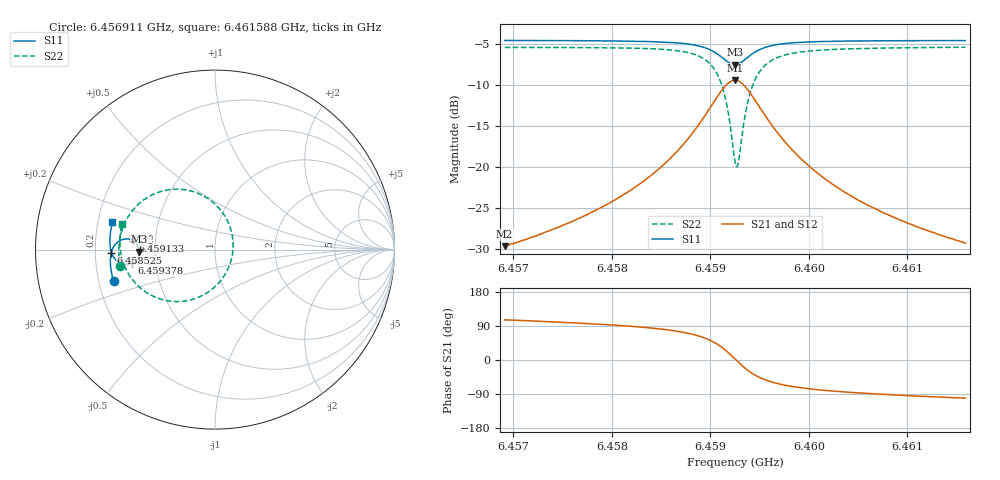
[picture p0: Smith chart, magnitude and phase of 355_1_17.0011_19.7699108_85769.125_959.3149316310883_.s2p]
#  HZ  S  RI  R  50.00
! Rohde & Schwarz Vector Network Analyzer
! Rohde-Schwarz,ZNB20-2Port,1311601062101988,3.16
! Created: UTC 3/20/2024, 11:07:59 PM
! freq[Hz]  re:S11  im:S11  re:S21  im:S21  re:S12  im:S12  re:S22  im:S22
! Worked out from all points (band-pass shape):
!   401 points, 6.456911 GHz to 6.461588 GHz, reference 50 ohm
!   highest |S21| = -9.40 dB at 6.45925 GHz (marker M1); lowest = -29.6 dB at 6.456911 GHz (marker M2)
!   |S21| within 3 dB of the highest: 6.459016 GHz to 6.459484 GHz (467.9 kHz wide, 0.00724 % of centre)
!   lowest |S11| = -7.5 dB at 6.45925 GHz (marker M3), VSWR 2.45, Z = 20.4 - j0.583 ohm
!   |S11| at or under -10 dB: nowhere
!   |S22| runs from -19.9 to -5.4 dB; largest |S21 - S12| = 0.013
!   S11 on the Smith chart (normalised r, x): 6.456911 GHz: 0.26, -0.14; 6.458525 GHz: 0.27, -0.01; 6.459133 GHz: 0.37, +0.05; 6.459378 GHz: 0.36, -0.07; 6.461588 GHz: 0.26, +0.12
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6.4569114e9  -0.5651 -0.1773  -0.00909 0.0318  -0.00739 0.0317  -0.5292 -0.0901
6.4576947e9  -0.5798 -0.1094  -0.00584 0.0492  -0.00347 0.0488  -0.5359 0.000158
6.4581156e9  -0.5831 -0.0674  -0.00046 0.0678  0.00268 0.0666  -0.529 0.0652
6.458478e9  -0.5798 -0.0248  0.0134 0.0968  0.0171 0.0943  -0.5042 0.1446
6.4585248e9  -0.5784 -0.0185  0.0165 0.1024  0.0205 0.0994  -0.4982 0.1576
6.4587352e9  -0.5665 0.0133  0.042 0.1335  0.0461 0.1289  -0.4506 0.2286
6.4588989e9  -0.5434 0.0415  0.0884 0.1658  0.0918 0.1594  -0.3649 0.2973
6.4590392e9  -0.5003 0.0593  0.174 0.1827  0.175 0.1754  -0.2092 0.3368
6.4591327e9  -0.4565 0.0497  0.2625 0.1526  0.2627 0.1466  -0.0457 0.2887
6.4591794e9  -0.4355 0.0314  0.3055 0.1106  0.3066 0.1054  0.0362 0.2145
6.4592496e9  -0.4209 -0.0118  0.3387 0.0157  0.3421 0.00904  0.1008 0.039
6.4592613e9  -0.4214 -0.0196  0.3386 -0.00169  0.3421 -0.00901  0.1007 0.00602
6.4592847e9  -0.4247 -0.0349  0.3332 -0.0358  0.3369 -0.0446  0.0903 -0.0584
6.4593314e9  -0.4399 -0.0606  0.3056 -0.0947  0.3076 -0.1062  0.0346 -0.1695
6.4593782e9  -0.4616 -0.0766  0.2645 -0.1353  0.2637 -0.1481  -0.0483 -0.2433
6.4594717e9  -0.5041 -0.0831  0.1813 -0.1663  0.1755 -0.1774  -0.2132 -0.2895
6.4596237e9  -0.5473 -0.0628  0.0951 -0.1533  0.0869 -0.1592  -0.3778 -0.242
6.4597874e9  -0.5684 -0.0353  0.051 -0.126  0.0436 -0.1287  -0.457 -0.1715
6.4600329e9  -0.5812 0.00029  0.0225 -0.0953  0.0165 -0.0959  -0.5043 -0.0905
6.4603836e9  -0.5856 0.0415  0.00638 -0.0691  0.00241 -0.0685  -0.5257 -0.0124
6.4608162e9  -0.5836 0.0846  -0.0013 -0.0508  -0.00418 -0.05  -0.5301 0.0555
6.4615878e9  -0.5712 0.1527  -0.00634 -0.0339  -0.00804 -0.033  -0.5185 0.1452
